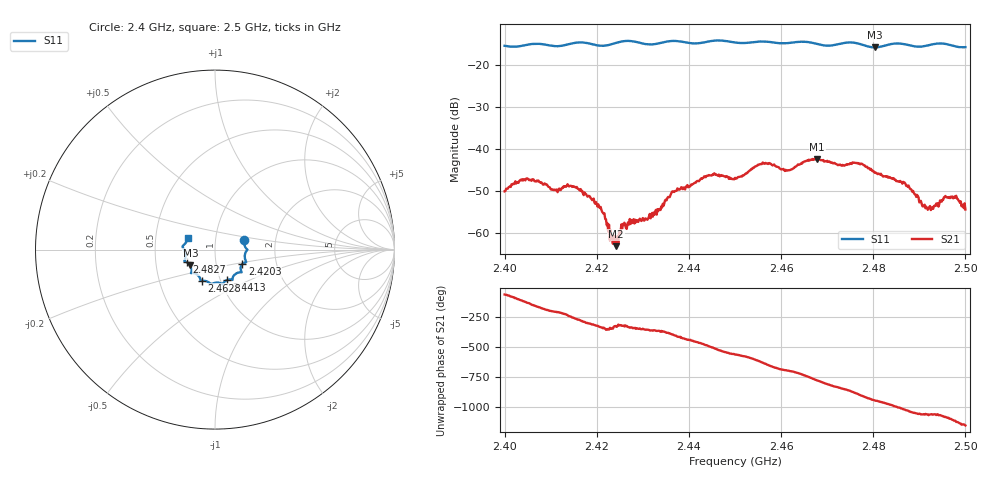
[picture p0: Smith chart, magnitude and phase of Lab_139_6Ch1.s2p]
# Hz S RI R 50
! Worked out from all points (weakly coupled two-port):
!   601 points, 2.4 GHz to 2.5 GHz, reference 50 ohm
!   highest |S21| = -42.26 dB at 2.4678 GHz (marker M1); lowest = -63.0 dB at 2.4242 GHz (marker M2)
!   lowest |S11| = -15.7 dB at 2.4803 GHz (marker M3), VSWR 1.39, Z = 37.4 - j6.81 ohm
!   |S11| at or under -10 dB: start of sweep to end of sweep
!   S12 and S22 are empty: the file has one direction only
!   S11 on the Smith chart (normalised r, x): 2.4 GHz: 1.38, +0.15; 2.4203 GHz: 1.34, -0.22; 2.4413 GHz: 1.08, -0.38; 2.4628 GHz: 0.82, -0.29; 2.4827 GHz: 0.72, -0.11; 2.5 GHz: 0.73, +0.10
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2.4e9  0.1627 0.0524  0.00124 -0.00291  0 0  0 0
2.404667e9  0.1746 0.00561  -0.00297 -0.00337  0 0  0 0
2.416667e9  0.1739 -0.0696  0.000982 0.00303  0 0  0 0
2.420333e9  0.1525 -0.0798  0.00195 0.00107  0 0  0 0
2.424167e9  0.1439 -0.1158  0.000605 0.000363  0 0  0 0
2.425833e9  0.1481 -0.1249  0.00105 0.000696  0 0  0 0
2.433333e9  0.1002 -0.152  0.00182 -0.000271  0 0  0 0
2.436667e9  0.0975 -0.169  0.00228 -0.00214  0 0  0 0
2.441333e9  0.0675 -0.1694  -0.000559 -0.00399  0 0  0 0
2.4455e9  0.0427 -0.1918  -0.00467 -0.00226  0 0  0 0
2.45e9  0.0245 -0.1853  -0.00407 0.00211  0 0  0 0
2.456167e9  -0.0211 -0.1908  0.000804 0.00687  0 0  0 0
2.462833e9  -0.0715 -0.1736  0.00595 0.000891  0 0  0 0
2.466667e9  -0.0813 -0.1673  0.0054 -0.00522  0 0  0 0
2.467833e9  -0.0837 -0.1587  0.00351 -0.00686  0 0  0 0
2.480333e9  -0.1371 -0.0886  -0.00344 0.00398  0 0  0 0
2.482667e9  -0.1573 -0.0708  -0.00145 0.00457  0 0  0 0
2.483333e9  -0.1625 -0.0683  -0.000816 0.00464  0 0  0 0
2.487167e9  -0.1678 -0.0552  0.0024 0.00278  0 0  0 0
2.491333e9  -0.1696 -0.00522  0.00189 0.000614  0 0  0 0
2.4975e9  -0.167 0.0325  0.0021 -0.0016  0 0  0 0
2.5e9  -0.1516 0.0639  0.000406 -0.00188  0 0  0 0
